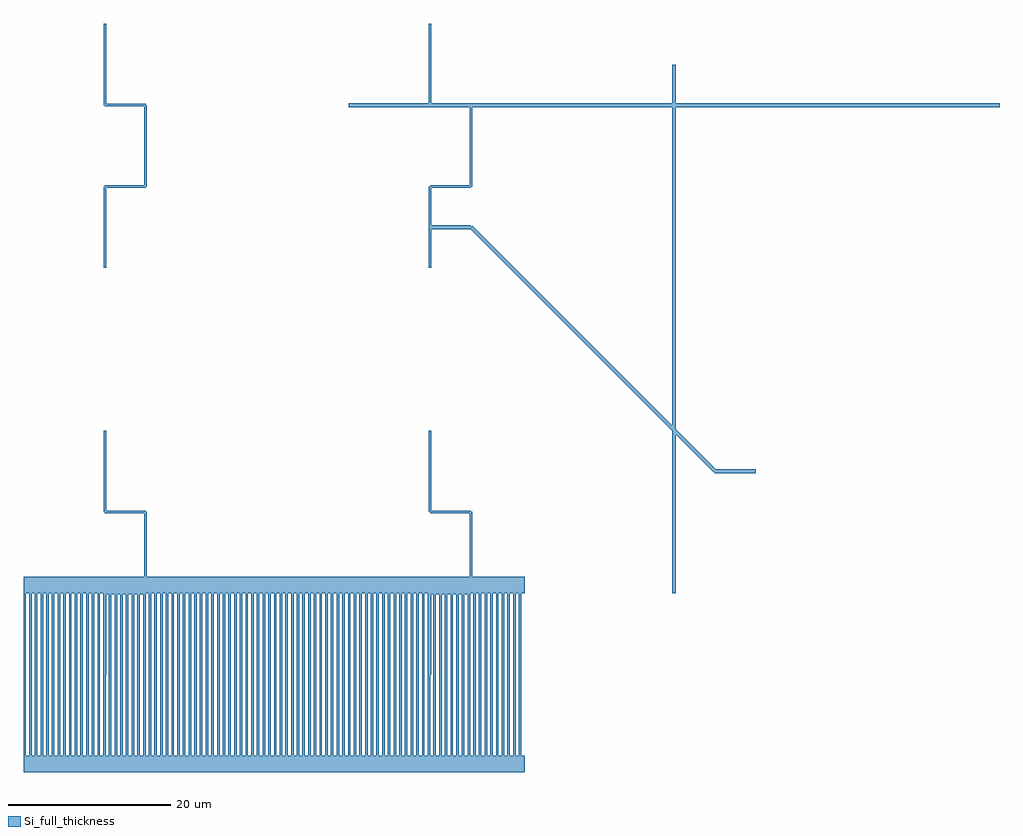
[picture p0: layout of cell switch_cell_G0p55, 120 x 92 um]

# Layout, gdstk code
import gdstk
lib = gdstk.Library(unit=1e-6, precision=1e-09)
def R(c, l, rs):  # rectangles x0, y0, x1, y1
    for r in rs: c.add(gdstk.rectangle(r[:2], r[2:], *l))
def A(c, l, x, y, w, h, nx, ny, dx, dy):  # array of equal rectangles
    R(c, l, [(x+i*dx, y+j*dy, x+i*dx+w, y+j*dy+h) for i in range(nx) for j in range(ny)])
def P(c, l, *ps):  # polygons
    for p in ps: c.add(gdstk.Polygon(p, *l))
Si_full_thickness = (1, 0)

waveguide_crossing = lib.new_cell('waveguide_crossing')
R(waveguide_crossing, Si_full_thickness, [(-0.225,-5,0.225,5), (-5,-0.225,5,0.225)])

bent_waveguide_45deg_dl2 = lib.new_cell('bent_waveguide_45deg_DL20_DL20_S30')
R(bent_waveguide_45deg_dl2, Si_full_thickness, [(35,-30.225,40,-29.775), (0,-0.225,5,0.225)])
P(bent_waveguide_45deg_dl2, Si_full_thickness, [(34.841,-30.159),(4.841,-0.159),(5.159,0.159),(35.159,-29.841)])

comb_drive_fw0p3_fg0p4_n = lib.new_cell('comb_drive_FW0p3_FG0p4_NP44_FL20')
A(comb_drive_fw0p3_fg0p4_n, Si_full_thickness, 0, 0, 0.3, 20, 88, 1, 0.7, 0)
R(comb_drive_fw0p3_fg0p4_n, Si_full_thickness, [(0,-2,61.6,0), (0,20,61.6,22)])

folded_spring_w0p3_l30_n = lib.new_cell('folded_spring_W0p3_L30_NF2')
R(folded_spring_w0p3_l30_n, Si_full_thickness, [(-0.15,0,0.15,10), (0,9.85,5,10.15), (4.85,10,5.15,20), (0,19.85,5,20.15), (-0.15,20,0.15,30)])

switch_cell_g0p55 = lib.new_cell('switch_cell_G0p55')
R(switch_cell_g0p55, Si_full_thickness, [(-0.225,-60,0.225,0), (-40,-0.225,0,0.225), (0,-0.225,40,0.225)])
switch_cell_g0p55.add(gdstk.Reference(waveguide_crossing, (0,0)))
switch_cell_g0p55.add(gdstk.Reference(bent_waveguide_45deg_dl2, (-30,-15)))
switch_cell_g0p55.add(gdstk.Reference(comb_drive_fw0p3_fg0p4_n, (-80,-80)))
switch_cell_g0p55.add(gdstk.Reference(folded_spring_w0p3_l30_n, (-70,-20)))
switch_cell_g0p55.add(gdstk.Reference(folded_spring_w0p3_l30_n, (-70,-70)))
switch_cell_g0p55.add(gdstk.Reference(folded_spring_w0p3_l30_n, (-30,-20)))
switch_cell_g0p55.add(gdstk.Reference(folded_spring_w0p3_l30_n, (-30,-70)))

lib.write_gds('switch_cell_G0p55.gds')
